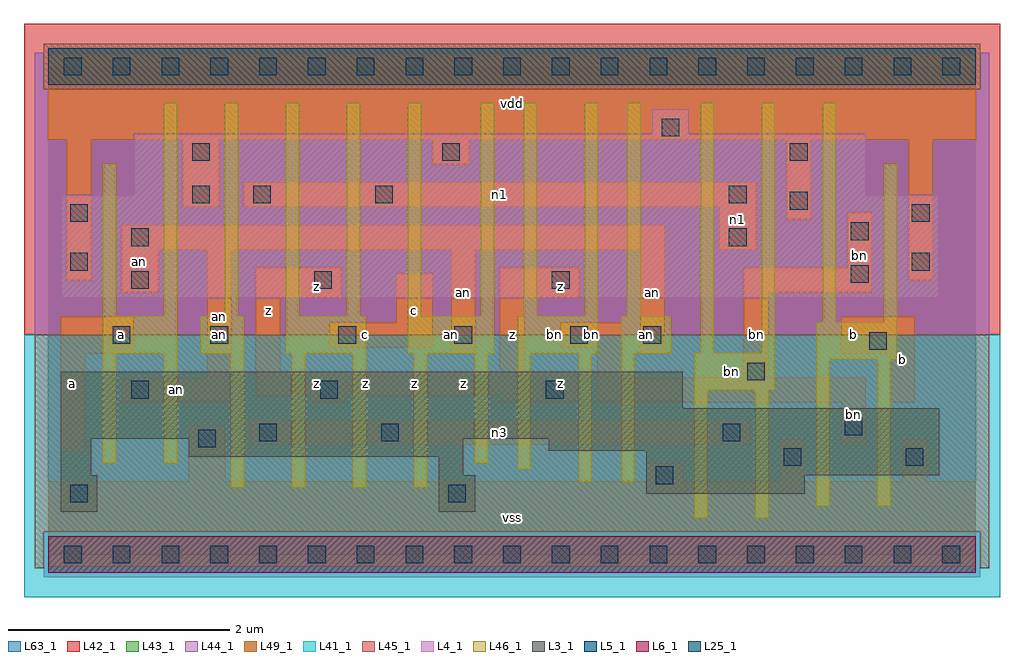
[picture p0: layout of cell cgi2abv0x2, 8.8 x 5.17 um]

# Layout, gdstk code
import gdstk
lib = gdstk.Library(unit=1e-6, precision=1e-09)
def R(c, l, rs):  # rectangles x0, y0, x1, y1
    for r in rs: c.add(gdstk.rectangle(r[:2], r[2:], *l))
def A(c, l, x, y, w, h, nx, ny, dx, dy):  # array of equal rectangles
    R(c, l, [(x+i*dx, y+j*dy, x+i*dx+w, y+j*dy+h) for i in range(nx) for j in range(ny)])
L3_1 = (3, 1)
L4_1 = (4, 1)
L5_1 = (5, 1)
L6_1 = (6, 1)
L25_1 = (25, 1)
L41_1 = (41, 1)
L42_1 = (42, 1)
L43_1 = (43, 1)
L44_1 = (44, 1)
L45_1 = (45, 1)
L46_1 = (46, 1)
L49_1 = (49, 1)
L63_1 = (63, 1)

cgi2abv0x2 = lib.new_cell('cgi2abv0x2')
R(cgi2abv0x2, L3_1, [(0.11,0.385,0.44,0.715), (3.52,0.385,3.85,0.715), (5.39,0.55,6.82,0.715), (0.11,0.715,0.385,1.045), (3.52,0.715,3.74,0.88), (5.39,0.715,8.03,0.935), (1.265,0.88,3.74,1.045), (4.51,0.935,8.03,1.045), (0.11,1.045,8.03,1.32), (0.11,1.32,5.72,1.65)])
R(cgi2abv0x2, L4_1, [(0.11,2.31,8.03,3.245), (0.77,3.245,7.37,3.795), (5.445,3.795,5.775,4.015)])
R(cgi2abv0x2, L5_1, [(0,4.235,8.36,4.565)])
R(cgi2abv0x2, L6_1, [(0,-0.165,8.36,0.165)])
A(cgi2abv0x2, L25_1, 0.14, -0.08, 0.16, 0.16, 19, 2, 0.44, 4.4)
A(cgi2abv0x2, L25_1, 2.615, 1.9, 0.16, 0.16, 3, 1, 1.045, 0)
R(cgi2abv0x2, L25_1, [(0.195,0.47,0.355,0.63), (3.605,0.47,3.765,0.63), (5.475,0.635,5.635,0.795), (6.63,0.8,6.79,0.96), (7.73,0.8,7.89,0.96), (1.35,0.965,1.51,1.125), (1.9,1.02,2.06,1.18), (3,1.02,3.16,1.18), (6.08,1.02,6.24,1.18), (7.18,1.075,7.34,1.235), (0.745,1.405,0.905,1.565), (2.45,1.405,2.61,1.565), (4.485,1.405,4.645,1.565), (6.3,1.57,6.46,1.73), (7.4,1.845,7.56,2.005), (0.58,1.9,0.74,2.06), (1.46,1.9,1.62,2.06), (5.365,1.9,5.525,2.06), (0.745,2.395,0.905,2.555), (2.395,2.395,2.555,2.555), (4.54,2.395,4.7,2.555), (7.235,2.45,7.395,2.61), (0.195,2.56,0.355,2.72), (7.785,2.56,7.945,2.72), (0.745,2.78,0.905,2.94), (6.135,2.78,6.295,2.94), (7.235,2.835,7.395,2.995), (0.195,3,0.355,3.16), (7.785,3,7.945,3.16), (6.685,3.11,6.845,3.27), (1.295,3.165,1.455,3.325), (1.845,3.165,2.005,3.325), (2.945,3.165,3.105,3.325), (6.135,3.165,6.295,3.325), (1.295,3.55,1.455,3.71), (3.55,3.55,3.71,3.71), (6.685,3.55,6.845,3.71), (5.53,3.77,5.69,3.93)])
R(cgi2abv0x2, L41_1, [(-0.22,-0.385,8.58,1.98)])
R(cgi2abv0x2, L42_1, [(-0.22,1.98,8.58,4.785)])
R(cgi2abv0x2, L43_1, [(0,-0.165,8.36,0.165), (0.11,0.385,0.44,0.715), (3.52,0.385,3.85,0.715), (5.39,0.55,6.82,0.715), (0.11,0.715,0.385,1.045), (3.52,0.715,3.74,0.88), (5.39,0.715,8.03,0.935), (1.265,0.88,3.74,1.045), (4.51,0.935,8.03,1.045), (0.11,1.045,8.03,1.32), (0.11,1.32,5.72,1.65), (0.11,2.31,8.03,3.245), (0.77,3.245,7.37,3.795), (5.445,3.795,5.775,4.015), (0,4.235,8.36,4.565)])
R(cgi2abv0x2, L44_1, [(-0.04,-0.205,8.4,0.205), (-0.125,1.98,8.485,4.195), (-0.125,4.195,-0.04,4.525), (8.4,4.195,8.485,4.525)])
R(cgi2abv0x2, L45_1, [(-0.125,-0.125,-0.04,0.205), (8.4,-0.125,8.485,0.205), (-0.125,0.205,8.485,1.98), (-0.04,4.195,8.4,4.605)])
A(cgi2abv0x2, L46_1, 1.645, 0.6, 0.12, 1.21, 4, 1, 0.55, 0)
A(cgi2abv0x2, L46_1, 1.04, 2.15, 0.12, 1.925, 5, 1, 0.55, 0)
R(cgi2abv0x2, L46_1, [(5.825,0.325,5.945,1.48), (6.375,0.325,6.495,1.48), (6.925,0.435,7.045,1.755), (7.475,0.435,7.595,1.755), (4.78,0.655,4.9,1.81), (5.165,0.655,5.285,1.81), (4.23,0.765,4.35,1.81), (0.49,0.82,0.61,1.81), (1.04,0.82,1.16,1.81), (3.845,0.82,3.965,1.81), (5.825,1.48,6.55,1.82), (6.925,1.755,7.65,2.095), (0.49,1.81,1.16,2.15), (1.37,1.81,1.765,2.15), (2.14,1.81,2.865,2.15), (3.24,1.81,4.02,2.15), (4.23,1.81,4.955,2.15), (5.165,1.81,5.615,2.15), (5.88,1.82,6,4.075), (6.43,1.82,6.55,4.075), (6.98,2.095,7.1,4.075), (7.53,2.095,7.65,3.525), (0.49,2.15,0.61,3.525), (3.9,2.15,4.02,4.075), (4.285,2.15,4.405,4.075), (4.835,2.15,4.955,4.075), (5.22,2.15,5.34,4.075)])
R(cgi2abv0x2, L49_1, [(0,-0.11,8.36,0.66), (1.265,0.66,1.595,1.155), (5.39,0.66,5.72,0.825), (6.6,0.66,6.82,1.045), (7.7,0.66,7.92,1.045), (0.11,0.935,0.33,1.815), (1.815,0.99,6.325,1.21), (7.15,0.99,7.37,1.375), (0.66,1.375,1.65,1.595), (2.365,1.375,2.695,1.43), (4.07,1.375,4.785,1.43), (4.95,1.375,7.37,1.595), (7.59,1.375,7.81,1.815), (1.87,1.43,4.785,1.65), (1.43,1.595,1.65,2.75), (4.95,1.595,5.17,1.87), (6.27,1.595,6.49,2.365), (1.87,1.65,2.09,2.31), (4.07,1.65,4.29,2.31), (0.11,1.815,0.77,2.145), (3.63,1.815,3.85,2.75), (5.335,1.815,5.555,2.75), (7.15,1.815,7.81,2.145), (2.53,1.87,3.465,2.09), (4.62,1.87,5.17,2.09), (3.135,2.09,3.465,2.53), (1.87,2.31,2.64,2.585), (4.07,2.31,4.785,2.585), (0.66,2.365,0.99,2.75), (6.27,2.365,7.425,2.585), (0.165,2.475,0.385,3.74), (7.755,2.475,7.975,3.74), (7.205,2.585,7.425,3.08), (0.66,2.75,5.555,2.97), (6.05,2.75,6.38,3.135), (6.655,3.025,6.875,3.74), (1.21,3.135,1.54,3.74), (1.76,3.135,6.38,3.355), (3.465,3.52,3.795,3.74), (0,3.74,8.36,4.51)])
R(cgi2abv0x2, L63_1, [(0,0,8.36,4.4)])
cgi2abv0x2.add(gdstk.Label('an', (1.54,1.98), layer=49, texttype=1))
cgi2abv0x2.add(gdstk.Label('an', (3.63,1.98), layer=46, texttype=1))
cgi2abv0x2.add(gdstk.Label('an', (5.39,1.98), layer=49, texttype=1))
cgi2abv0x2.add(gdstk.Label('bn', (4.565,1.98), layer=46, texttype=1))
cgi2abv0x2.add(gdstk.Label('bn', (6.16,1.65), layer=46, texttype=1))
cgi2abv0x2.add(gdstk.Label('a', (0.22,1.54), layer=49, texttype=1))
cgi2abv0x2.add(gdstk.Label('a', (0.66,1.98), layer=49, texttype=1))
cgi2abv0x2.add(gdstk.Label('an', (0.825,2.64), layer=49, texttype=1))
cgi2abv0x2.add(gdstk.Label('an', (1.155,1.485), layer=49, texttype=1))
cgi2abv0x2.add(gdstk.Label('z', (2.86,1.54), layer=49, texttype=1))
cgi2abv0x2.add(gdstk.Label('z', (2.42,1.54), layer=49, texttype=1))
cgi2abv0x2.add(gdstk.Label('c', (2.86,1.98), layer=49, texttype=1))
cgi2abv0x2.add(gdstk.Label('z', (2.42,2.42), layer=49, texttype=1))
cgi2abv0x2.add(gdstk.Label('z', (1.98,2.2), layer=49, texttype=1))
cgi2abv0x2.add(gdstk.Label('an', (1.54,2.145), layer=49, texttype=1))
cgi2abv0x2.add(gdstk.Label('vss', (4.18,0.33), layer=49, texttype=1))
cgi2abv0x2.add(gdstk.Label('z', (3.3,1.54), layer=49, texttype=1))
cgi2abv0x2.add(gdstk.Label('z', (4.62,1.54), layer=49, texttype=1))
cgi2abv0x2.add(gdstk.Label('z', (3.74,1.54), layer=49, texttype=1))
cgi2abv0x2.add(gdstk.Label('c', (3.3,2.2), layer=49, texttype=1))
cgi2abv0x2.add(gdstk.Label('z', (4.62,2.42), layer=49, texttype=1))
cgi2abv0x2.add(gdstk.Label('z', (4.18,1.98), layer=49, texttype=1))
cgi2abv0x2.add(gdstk.Label('an', (3.74,2.365), layer=49, texttype=1))
cgi2abv0x2.add(gdstk.Label('vdd', (4.18,4.07), layer=49, texttype=1))
cgi2abv0x2.add(gdstk.Label('n3', (4.07,1.1), layer=49, texttype=1))
cgi2abv0x2.add(gdstk.Label('bn', (6.38,1.98), layer=49, texttype=1))
cgi2abv0x2.add(gdstk.Label('bn', (4.895,1.98), layer=49, texttype=1))
cgi2abv0x2.add(gdstk.Label('n1', (6.215,3.025), layer=49, texttype=1))
cgi2abv0x2.add(gdstk.Label('an', (5.445,2.365), layer=49, texttype=1))
cgi2abv0x2.add(gdstk.Label('n1', (4.07,3.245), layer=49, texttype=1))
cgi2abv0x2.add(gdstk.Label('bn', (7.26,1.265), layer=49, texttype=1))
cgi2abv0x2.add(gdstk.Label('b', (7.7,1.76), layer=49, texttype=1))
cgi2abv0x2.add(gdstk.Label('b', (7.26,1.98), layer=49, texttype=1))
cgi2abv0x2.add(gdstk.Label('bn', (7.315,2.695), layer=49, texttype=1))

lib.write_gds('cgi2abv0x2.gds')
